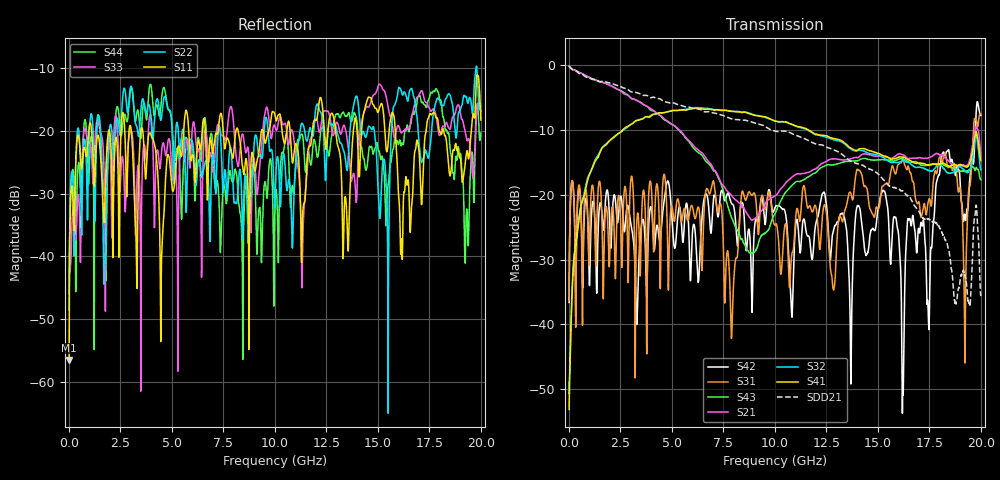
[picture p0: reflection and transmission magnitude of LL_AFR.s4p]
!Keysight Technologies PLTS 2019, Build 20190114.1
!Deembedding/AFR applied
!FILE: C:\Users\Adv.Develop-SI LAB\Desktop\New folder (2)\New folder\LL.s4p
!$DUT_CFG_DESC: Default 4-Port Configuration
!$NUMBER_PORTS: 4
!$DIFF_PORT_MAP: 1|2P|2|2P|0|UC|0|UC|
!$PORT_MAP: 1|1|<<<<<<|2|2|>>>>>>|3|3|<<<<<<|4|4|>>>>>>|
!Date: Tuesday, January 19, 2021, 05:03:26
!S4P File: Measurements: <S11,S12,S13,S14>,
!<S21,S22,S23,S24>,
!<S31,S32,S33,S34>,
!<S41,S42,S43,S44>:
# MHz S  DB  R 50
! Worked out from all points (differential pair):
!   2000 points, 10 MHz to 20 GHz, reference 50 ohm
!   strongest paths, dB at 10 MHz, 5.01 GHz, 10.01 GHz, 15.01 GHz, 20 GHz:
!     S41: -53.1, -7.0, -8.6, -13.6, -14.7
!     S32: -48.9, -7.0, -8.6, -13.9, -16.1
!     S21: -0.1, -9.1, -20.1, -14.0, -14.1
!     S43: -0.1, -9.2, -22.9, -14.6, -17.7
!     S31: -36.2, -21.8, -24.7, -22.2, -7.5
!     S42: -36.6, -24.0, -22.0, -22.2, -7.7
!   taken as a pair (ports 1,3 in; 2,4 out), SDD21 dB: -0.1, -5.8, -10.1, -16.8, -35.6
!   lowest |S11| = -56.5 dB at 10 MHz (marker M1), VSWR 1.00, Z = 50.1 + j0.129 ohm
!   |S11| at or under -10 dB: start of sweep to end of sweep
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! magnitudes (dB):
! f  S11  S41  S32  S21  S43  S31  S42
! 10 MHz  -56.5  -53.1  -48.9  -0.1  -0.1  -36.2  -36.6
! 1.02 GHz  -18.7  -16.7  -16.6  -1.9  -1.9  -24.8  -31.6
! 3.28 GHz  -41.0  -8.5  -8.5  -5.4  -5.4  -25.7  -39.2
! 15.27 GHz  -17.1  -14.0  -14.2  -14.1  -14.6  -18.6  -19.3
! 16.22 GHz  -33.5  -14.1  -14.7  -13.8  -14.5  -14.3  -50.6
! 19.23 GHz  -25.5  -15.6  -16.3  -15.6  -16.4  -46.0  -23.4
! 20 GHz  -18.3  -14.7  -16.1  -14.1  -17.7  -7.5  -7.7
